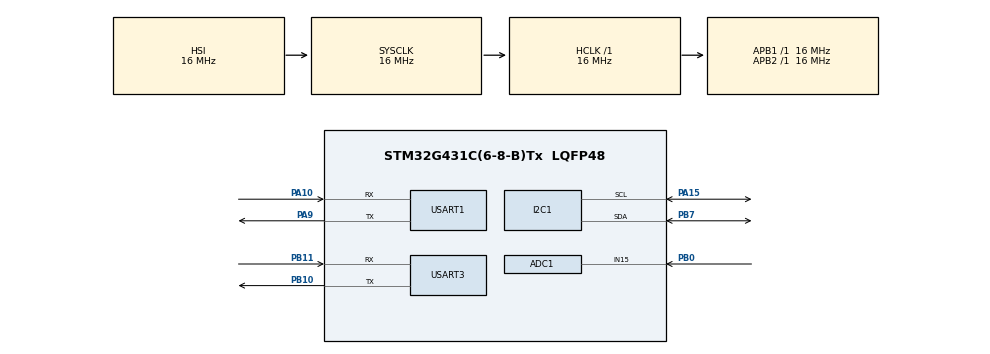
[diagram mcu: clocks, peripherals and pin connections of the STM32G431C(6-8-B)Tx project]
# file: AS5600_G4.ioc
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ADC1.Channel-0\#ChannelRegularConversion=ADC_CHANNEL_15
ADC1.ContinuousConvMode=ENABLE
ADC1.NbrOfConversionFlag=1
ADC1.OffsetNumber-0\#ChannelRegularConversion=ADC_OFFSET_NONE
ADC1.Rank-0\#ChannelRegularConversion=1
ADC1.SamplingTime-0\#ChannelRegularConversion=ADC_SAMPLETIME_2CYCLES_5
ADC1.master=1
I2C1.Timing=0x00503D58
Mcu.Family=STM32G4
Mcu.Name=STM32G431C(6-8-B)Tx
Mcu.Package=LQFP48
NVIC.PriorityGroup=NVIC_PRIORITYGROUP_4
PA10.Mode=Asynchronous
PA10.Signal=USART1_RX
PA15.Mode=I2C
PA15.Signal=I2C1_SCL
PA9.Mode=Asynchronous
PA9.Signal=USART1_TX
PB0.Mode=IN15-Single-Ended
PB0.Signal=ADC1_IN15
PB10.Mode=Asynchronous
PB10.Signal=USART3_TX
PB11.Mode=Asynchronous
PB11.Signal=USART3_RX
PB7.Mode=I2C
PB7.Signal=I2C1_SDA
ProjectManager.HeapSize=0x200
ProjectManager.StackSize=0x400
ProjectManager.TargetToolchain=STM32CubeIDE
RCC.AHBFreq_Value=16000000
RCC.APB1Freq_Value=16000000
RCC.APB1TimFreq_Value=16000000
RCC.APB2Freq_Value=16000000
RCC.APB2TimFreq_Value=16000000
RCC.CortexFreq_Value=16000000
RCC.EXTERNAL_CLOCK_VALUE=12288000
RCC.HCLKFreq_Value=16000000
RCC.HSE_VALUE=8000000
RCC.HSI48_VALUE=48000000
RCC.HSI_VALUE=16000000
RCC.LSE_VALUE=32768
RCC.SYSCLKFreq_VALUE=16000000
RCC.USBFreq_Value=64000000
RCC.VCOOutputFreq_Value=128000000
USART1.VirtualMode-Asynchronous=VM_ASYNC
USART3.VirtualMode-Asynchronous=VM_ASYNC
VP_SYS_VS_DBSignals.Mode=DisableDeadBatterySignals
board=custom

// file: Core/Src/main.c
/* USER CODE BEGIN Header */
/**
  ******************************************************************************
  * @file           : main.c
  * @brief          : Main program body
  ******************************************************************************
  * @attention
  *
  * Copyright (c) 2026 STMicroelectronics.
  * All rights reserved.
  *
  * This software is licensed under terms that can be found in the LICENSE file
  * in the root directory of this software component.
  * If no LICENSE file comes with this software, it is provided AS-IS.
  *
  ******************************************************************************
  */
/* USER CODE END Header */
#include "main.h"

/* USER CODE BEGIN Includes */
extern I2C_HandleTypeDef hi2c1;
extern UART_HandleTypeDef huart1;
extern ADC_HandleTypeDef hadc1;

#define AS5600_ADDR (0x36 << 1)
#define RAW_ANGLE_REG 0x0C
#define STATUS_REG    0x0B

uint8_t i2c_buf[2];
uint8_t status_buf;
char uart_buf[120];
/* USER CODE END Includes */

ADC_HandleTypeDef hadc1;

I2C_HandleTypeDef hi2c1;

UART_HandleTypeDef huart1;
UART_HandleTypeDef huart3;

void SystemClock_Config(void);
static void MX_GPIO_Init(void);
static void MX_ADC1_Init(void);
static void MX_I2C1_Init(void);
static void MX_USART1_UART_Init(void);
static void MX_USART3_UART_Init(void);

/* USER CODE BEGIN 0 */
float read_i2c_angle()
{
    uint16_t raw_angle = 0;

    HAL_I2C_Mem_Read(&hi2c1,
                     AS5600_ADDR,
                     RAW_ANGLE_REG,
                     I2C_MEMADD_SIZE_8BIT,
                     i2c_buf,
                     2,
                     HAL_MAX_DELAY);

    raw_angle = (i2c_buf[0] << 8) | i2c_buf[1];

    return (raw_angle * 360.0f) / 4096.0f;
}

float read_out_angle()
{
    HAL_ADC_Start(&hadc1);
    HAL_ADC_PollForConversion(&hadc1, HAL_MAX_DELAY);

    uint32_t adc_val = HAL_ADC_GetValue(&hadc1);

    float voltage = (adc_val * 3.3f) / 4095.0f;
    float angle = (voltage / 3.3f) * 360.0f;

    return angle;
}

uint8_t magnet_detected()
{
    HAL_I2C_Mem_Read(&hi2c1,
                     AS5600_ADDR,
                     STATUS_REG,
                     I2C_MEMADD_SIZE_8BIT,
                     &status_buf,
                     1,
                     HAL_MAX_DELAY);

    // Bit 5 = MD (Magnet detected)
    if (status_buf & (1 << 5))
        return 1;
    else
        return 0;
}
/* USER CODE END 0 */

int main(void)
{

  /* MCU Configuration--------------------------------------------------------*/

  /* Reset of all peripherals, Initializes the Flash interface and the Systick. */
  HAL_Init();

  /* Configure the system clock */
  SystemClock_Config();

  /* Initialize all configured peripherals */
  MX_GPIO_Init();
  MX_ADC1_Init();
  MX_I2C1_Init();
  MX_USART1_UART_Init();
  MX_USART3_UART_Init();
  /* USER CODE BEGIN 2 */
  float angle_i2c, angle_out;
  uint8_t magnet_ok;

  /* USER CODE END 2 */

  /* Infinite loop */
  while (1)
  {
	  float angle_i2c, angle_out;
	    uint8_t magnet_ok;
	    /* USER CODE END 2 */

	    /* Infinite loop */
	    /* USER CODE BEGIN WHILE */
	    while (1)
	    {
	      angle_i2c = read_i2c_angle();
	      angle_out = read_out_angle();
	      magnet_ok = magnet_detected();

	      sprintf(uart_buf,
	              "Magnet: %s | I2C: %.2f deg | OUT: %.2f deg\r\n",
	              magnet_ok ? "OK" : "NO",
	              angle_i2c,
	              angle_out);

	      HAL_UART_Transmit(&huart3,
	                        (uint8_t*)uart_buf,
	                        strlen(uart_buf),
	                        HAL_MAX_DELAY);

	      HAL_Delay(200);
	    }

  }
}

void SystemClock_Config(void)
{
  RCC_OscInitTypeDef RCC_OscInitStruct = {0};
  RCC_ClkInitTypeDef RCC_ClkInitStruct = {0};

  /** Configure the main internal regulator output voltage
  */
  HAL_PWREx_ControlVoltageScaling(PWR_REGULATOR_VOLTAGE_SCALE1);

  /** Initializes the RCC Oscillators according to the specified parameters
  * in the RCC_OscInitTypeDef structure.
  */
  RCC_OscInitStruct.OscillatorType = RCC_OSCILLATORTYPE_HSI;
  RCC_OscInitStruct.HSIState = RCC_HSI_ON;
  RCC_OscInitStruct.HSICalibrationValue = RCC_HSICALIBRATION_DEFAULT;
  RCC_OscInitStruct.PLL.PLLState = RCC_PLL_NONE;
  if (HAL_RCC_OscConfig(&RCC_OscInitStruct) != HAL_OK)
  {
    Error_Handler();
  }

  /** Initializes the CPU, AHB and APB buses clocks
  */
  RCC_ClkInitStruct.ClockType = RCC_CLOCKTYPE_HCLK|RCC_CLOCKTYPE_SYSCLK
                              |RCC_CLOCKTYPE_PCLK1|RCC_CLOCKTYPE_PCLK2;
  RCC_ClkInitStruct.SYSCLKSource = RCC_SYSCLKSOURCE_HSI;
  RCC_ClkInitStruct.AHBCLKDivider = RCC_SYSCLK_DIV1;
  RCC_ClkInitStruct.APB1CLKDivider = RCC_HCLK_DIV1;
  RCC_ClkInitStruct.APB2CLKDivider = RCC_HCLK_DIV1;

  if (HAL_RCC_ClockConfig(&RCC_ClkInitStruct, FLASH_LATENCY_0) != HAL_OK)
  {
    Error_Handler();
  }
}

static void MX_ADC1_Init(void)
{

  ADC_MultiModeTypeDef multimode = {0};
  ADC_ChannelConfTypeDef sConfig = {0};

  /** Common config
  */
  hadc1.Instance = ADC1;
  hadc1.Init.ClockPrescaler = ADC_CLOCK_SYNC_PCLK_DIV2;
  hadc1.Init.Resolution = ADC_RESOLUTION_12B;
  hadc1.Init.DataAlign = ADC_DATAALIGN_RIGHT;
  hadc1.Init.GainCompensation = 0;
  hadc1.Init.ScanConvMode = ADC_SCAN_DISABLE;
  hadc1.Init.EOCSelection = ADC_EOC_SINGLE_CONV;
  hadc1.Init.LowPowerAutoWait = DISABLE;
  hadc1.Init.ContinuousConvMode = ENABLE;
  hadc1.Init.NbrOfConversion = 1;
  hadc1.Init.DiscontinuousConvMode = DISABLE;
  hadc1.Init.ExternalTrigConv = ADC_SOFTWARE_START;
  hadc1.Init.ExternalTrigConvEdge = ADC_EXTERNALTRIGCONVEDGE_NONE;
  hadc1.Init.DMAContinuousRequests = DISABLE;
  hadc1.Init.Overrun = ADC_OVR_DATA_PRESERVED;
  hadc1.Init.OversamplingMode = DISABLE;
  if (HAL_ADC_Init(&hadc1) != HAL_OK)
  {
    Error_Handler();
  }

  /** Configure the ADC multi-mode
  */
  multimode.Mode = ADC_MODE_INDEPENDENT;
  if (HAL_ADCEx_MultiModeConfigChannel(&hadc1, &multimode) != HAL_OK)
  {
    Error_Handler();
  }

  /** Configure Regular Channel
  */
  sConfig.Channel = ADC_CHANNEL_15;
  sConfig.Rank = ADC_REGULAR_RANK_1;
  sConfig.SamplingTime = ADC_SAMPLETIME_2CYCLES_5;
  sConfig.SingleDiff = ADC_SINGLE_ENDED;
  sConfig.OffsetNumber = ADC_OFFSET_NONE;
  sConfig.Offset = 0;
  if (HAL_ADC_ConfigChannel(&hadc1, &sConfig) != HAL_OK)
  {
    Error_Handler();
  }

}

static void MX_I2C1_Init(void)
{

  hi2c1.Instance = I2C1;
  hi2c1.Init.Timing = 0x00503D58;
  hi2c1.Init.OwnAddress1 = 0;
  hi2c1.Init.AddressingMode = I2C_ADDRESSINGMODE_7BIT;
  hi2c1.Init.DualAddressMode = I2C_DUALADDRESS_DISABLE;
  hi2c1.Init.OwnAddress2 = 0;
  hi2c1.Init.OwnAddress2Masks = I2C_OA2_NOMASK;
  hi2c1.Init.GeneralCallMode = I2C_GENERALCALL_DISABLE;
  hi2c1.Init.NoStretchMode = I2C_NOSTRETCH_DISABLE;
  if (HAL_I2C_Init(&hi2c1) != HAL_OK)
  {
    Error_Handler();
  }

  /** Configure Analogue filter
  */
  if (HAL_I2CEx_ConfigAnalogFilter(&hi2c1, I2C_ANALOGFILTER_ENABLE) != HAL_OK)
  {
    Error_Handler();
  }

  /** Configure Digital filter
  */
  if (HAL_I2CEx_ConfigDigitalFilter(&hi2c1, 0) != HAL_OK)
  {
    Error_Handler();
  }

}

static void MX_USART1_UART_Init(void)
{

  huart1.Instance = USART1;
  huart1.Init.BaudRate = 115200;
  huart1.Init.WordLength = UART_WORDLENGTH_8B;
  huart1.Init.StopBits = UART_STOPBITS_1;
  huart1.Init.Parity = UART_PARITY_NONE;
  huart1.Init.Mode = UART_MODE_TX_RX;
  huart1.Init.HwFlowCtl = UART_HWCONTROL_NONE;
  huart1.Init.OverSampling = UART_OVERSAMPLING_16;
  huart1.Init.OneBitSampling = UART_ONE_BIT_SAMPLE_DISABLE;
  huart1.Init.ClockPrescaler = UART_PRESCALER_DIV1;
  huart1.AdvancedInit.AdvFeatureInit = UART_ADVFEATURE_NO_INIT;
  if (HAL_UART_Init(&huart1) != HAL_OK)
  {
    Error_Handler();
  }
  if (HAL_UARTEx_SetTxFifoThreshold(&huart1, UART_TXFIFO_THRESHOLD_1_8) != HAL_OK)
  {
    Error_Handler();
  }
  if (HAL_UARTEx_SetRxFifoThreshold(&huart1, UART_RXFIFO_THRESHOLD_1_8) != HAL_OK)
  {
    Error_Handler();
  }
  if (HAL_UARTEx_DisableFifoMode(&huart1) != HAL_OK)
  {
    Error_Handler();
  }

}

static void MX_USART3_UART_Init(void)
{

  huart3.Instance = USART3;
  huart3.Init.BaudRate = 115200;
  huart3.Init.WordLength = UART_WORDLENGTH_8B;
  huart3.Init.StopBits = UART_STOPBITS_1;
  huart3.Init.Parity = UART_PARITY_NONE;
  huart3.Init.Mode = UART_MODE_TX_RX;
  huart3.Init.HwFlowCtl = UART_HWCONTROL_NONE;
  huart3.Init.OverSampling = UART_OVERSAMPLING_16;
  huart3.Init.OneBitSampling = UART_ONE_BIT_SAMPLE_DISABLE;
  huart3.Init.ClockPrescaler = UART_PRESCALER_DIV1;
  huart3.AdvancedInit.AdvFeatureInit = UART_ADVFEATURE_NO_INIT;
  if (HAL_UART_Init(&huart3) != HAL_OK)
  {
    Error_Handler();
  }
  if (HAL_UARTEx_SetTxFifoThreshold(&huart3, UART_TXFIFO_THRESHOLD_1_8) != HAL_OK)
  {
    Error_Handler();
  }
  if (HAL_UARTEx_SetRxFifoThreshold(&huart3, UART_RXFIFO_THRESHOLD_1_8) != HAL_OK)
  {
    Error_Handler();
  }
  if (HAL_UARTEx_DisableFifoMode(&huart3) != HAL_OK)
  {
    Error_Handler();
  }

}

static void MX_GPIO_Init(void)
{

  /* GPIO Ports Clock Enable */
  __HAL_RCC_GPIOB_CLK_ENABLE();
  __HAL_RCC_GPIOA_CLK_ENABLE();

}

void Error_Handler(void)
{
  __disable_irq();
  while (1)
  {
  }
}
